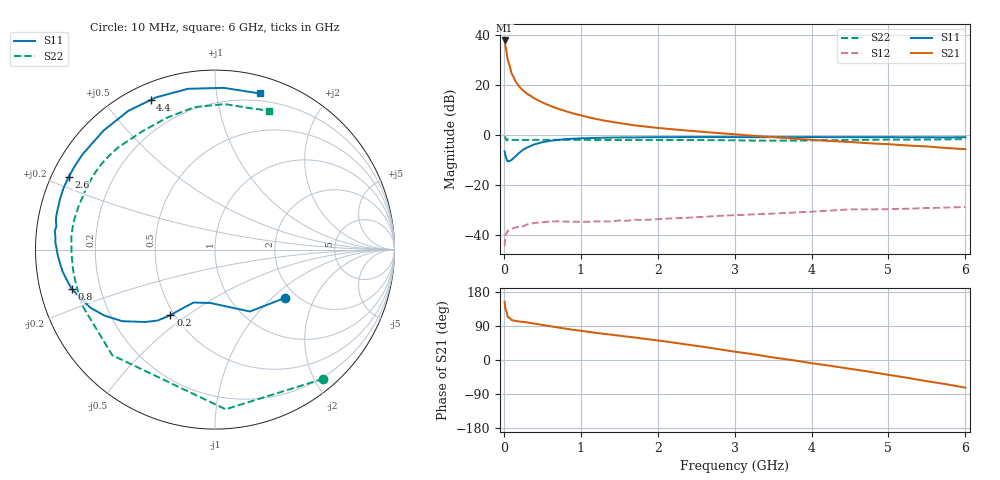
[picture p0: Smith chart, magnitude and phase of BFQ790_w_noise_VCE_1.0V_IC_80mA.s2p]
! Infineon Technologies  Discrete & RF Semiconductors
! BFQ790
! VCE =  1.0 V,  IC =  80 mA
! Common Emitter S-Parameters:  May 2015
# GHz  S  MA  R  50
!  f  S11  S21  S12  S22
! GHz  MAG  ANG  MAG  ANG  MAG  ANG  MAG  ANG
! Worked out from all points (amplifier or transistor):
!   77 points, 10 MHz to 6 GHz, reference 50 ohm
!   highest |S21| = 37.7 dB at 10 MHz (marker M1)
!   |S21| within 3 dB of that: start of sweep to 25.74 MHz
!   unconditionally stable (mu >= 1): 1.036 GHz to end of sweep
!   at 130 MHz: K = 0.70, MSG = 30.0 dB, |S12| = -37.1 dB
!   at 2.2 GHz: K = 1.20, MAG = 15.0 dB, |S12| = -33.2 dB
!   at 6 GHz: K = 1.38, MAG = 7.9 dB, |S12| = -28.7 dB
!   lowest NFmin = 2.44 dB at 1.5 GHz
!   S11 on the Smith chart (normalised r, x): 10 MHz: 1.73, -1.20; 200 MHz: 0.48, -0.43; 800 MHz: 0.10, -0.13; 2.6 GHz: 0.05, +0.23; 4.4 GHz: 0.07, +0.66; 6 GHz: 0.14, +1.32
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0.01  0.4722 -34.9  76.59 153.5  0.0061 63.4  0.9394 -50.0
0.02  0.3962 -60.5  60.31 135.0  0.0099 44.9  0.8916 -86.2
0.05  0.2987 -94.7  31.41 113.6  0.0123 25.3  0.8209 -134.2
0.1  0.3179 -112.0  16.93 105.3  0.0135 15.0  0.8022 -157.0
0.15  0.3747 -119.0  11.83 103.1  0.0143 16.7  0.7984 -165.7
0.2  0.4417 -124.2  9.262 101.6  0.015 16.6  0.7988 -170.5
0.25  0.5076 -128.9  7.719 100.5  0.0151 15.3  0.7988 -173.6
0.3  0.5608 -134.0  6.656 99.2  0.0165 12.3  0.7984 -176.0
0.4  0.6523 -142.3  5.33 95.9  0.0177 11.2  0.7998 -179.8
0.5  0.7177 -149.2  4.453 92.6  0.0183 8.0  0.8007 177.6
0.6  0.7671 -155.1  3.841 89.3  0.0189 9.1  0.803 175.3
0.7  0.796 -160.4  3.356 86.0  0.0191 7.2  0.8032 173.2
0.8  0.8279 -164.6  3.004 82.8  0.0188 5.4  0.8029 171.5
1.1  0.8679 -175.3  2.262 74.3  0.0187 3.6  0.8005 166.7
1.5  0.8922 175.3  1.73 64.2  0.0199 2.4  0.7948 161.1
2.1  0.9058 164.0  1.341 48.9  0.0215 0.0  0.7934 152.3
2.6  0.9107 153.6  1.153 34.5  0.0235 -3.7  0.7923 142.7
3.1  0.9063 142.1  1.006 19.3  0.0256 -10.6  0.7797 131.2
4.1  0.9086 119.8  0.785 -11.1  0.0303 -23.3  0.7831 107.8
4.4  0.9074 113.3  0.738 -20.1  0.0323 -28.1  0.7951 100.6
5.1  0.9038 97.0  0.641 -42.3  0.0336 -42.1  0.8104 84.1
6  0.905 74.0  0.523 -73.1  0.0368 -61.2  0.8306 68.7
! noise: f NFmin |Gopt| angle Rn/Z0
0.45  3.61  0.36  127  0.38
0.9  2.62  0.51  162  0.14
1.5  2.44  0.64  -176  0.07
1.8  2.6  0.66  -171  0.08
2.6  3.1  0.71  -153  0.19
3.5  3.8  0.82  -137  0.47
